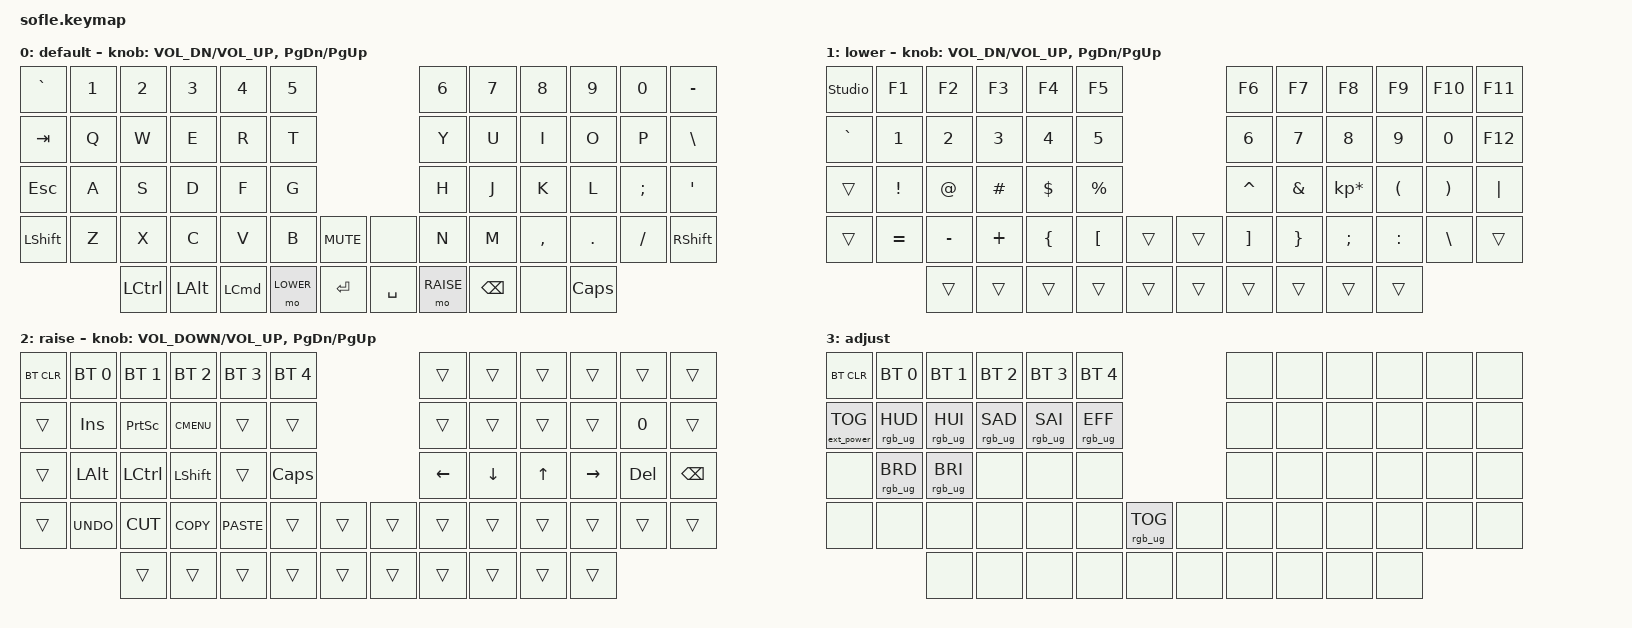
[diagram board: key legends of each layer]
/*
 * Copyright (c) 2020 The ZMK Contributors
 *
 * SPDX-License-Identifier: MIT
 */

#include <behaviors.dtsi>
#include <dt-bindings/zmk/bt.h>
#include <dt-bindings/zmk/ext_power.h>
#include <dt-bindings/zmk/keys.h>
#include <dt-bindings/zmk/rgb.h>

#define BASE 0
#define LOWER 1
#define RAISE 2
#define ADJUST 3

/ {
    // Activate ADJUST layer by pressing raise and lower

    conditional_layers {
        compatible = "zmk,conditional-layers";

        adjust_layer {
            if-layers = <LOWER RAISE>;
            then-layer = <ADJUST>;
        };
    };

    combos { compatible = "zmk,combos"; };

    keymap {
        compatible = "zmk,keymap";

        default_layer {
            label = "default";

            // ------------------------------------------------------------------------------------------------------------
            // |   `   |  1  |  2  |  3   |  4   |  5   |                   |  6   |  7    |  8    |  9   |   0   |       |
            // |  ESC  |  Q  |  W  |  E   |  R   |  T   |                   |  Y   |  U    |  I    |  O   |   P   | BKSPC |
            // |  TAB  |  A  |  S  |  D   |  F   |  G   |                   |  H   |  J    |  K    |  L   |   ;   |   '   |
            // | SHIFT |  Z  |  X  |  C   |  V   |  B   |  MUTE  |  |       |  N   |  M    |  ,    |  .   |   /   | SHIFT |
            //               | GUI | ALT  | CTRL | LOWER|  ENTER |  | SPACE | RAISE| CTRL  | ALT   | GUI  |

            bindings = <
&kp GRAVE   &kp N1  &kp N2     &kp N3    &kp N4    &kp N5                              &kp N6     &kp N7         &kp N8     &kp N9        &kp N0    &kp MINUS
&kp TAB     &kp Q   &kp W      &kp E     &kp R     &kp T                               &kp Y      &kp U          &kp I      &kp O         &kp P     &kp BSLH
&kp ESCAPE  &kp A   &kp S      &kp D     &kp F     &kp G                               &kp H      &kp J          &kp K      &kp L         &kp SEMI  &kp SQT
&kp LSHFT   &kp Z   &kp X      &kp C     &kp V     &kp B      &kp C_MUTE    &none      &kp N      &kp M          &kp COMMA  &kp DOT       &kp FSLH  &kp RSHFT
                    &kp LCTRL  &kp LALT  &kp LCMD  &mo LOWER  &kp ENTER     &kp SPACE  &mo RAISE  &kp BACKSPACE  &none      &kp CAPSLOCK
            >;

            sensor-bindings =
                <&inc_dec_kp C_VOL_DN C_VOL_UP>,
                <&inc_dec_kp PAGE_DOWN PAGE_UP>;
        };

        lower_layer {
            label = "lower";

            // TODO: Some binds are waiting for shifted keycode support.
            // ------------------------------------------------------------------------------------------------------------
            // |       |  F1 |  F2 |  F3  |  F4  |  F5  |                   |  F6  |  F7   |  F8   |  F9  |  F10  |  F11  |
            // |   `   |  1  |  2  |  3   |  4   |  5   |                   |  6   |  7    |  8    |  9   |   0   |  F12  |
            // |       |  !  |  @  |  #   |  $   |  %   |                   |  ^   |  &    |  *    |  (   |   )   |   |   |
            // |       |  =  |  -  |  +   |  {   |  }   |        |  |       |  [   |  ]    |  ;    |  :   |   \   |       |
            //               |     |      |      |      |        |  |       |      |       |       |      |

            bindings = <
&studio_unlock  &kp F1     &kp F2     &kp F3    &kp F4    &kp F5                              &kp F6             &kp F7           &kp F8           &kp F9                &kp F10                &kp F11
&kp GRAVE       &kp N1     &kp N2     &kp N3    &kp N4    &kp N5                              &kp N6             &kp N7           &kp N8           &kp N9                &kp N0                 &kp F12
&trans          &kp EXCL   &kp AT     &kp HASH  &kp DLLR  &kp PRCNT                           &kp CARET          &kp AMPS         &kp KP_MULTIPLY  &kp LEFT_PARENTHESIS  &kp RIGHT_PARENTHESIS  &kp PIPE
&trans          &kp EQUAL  &kp MINUS  &kp PLUS  &kp LBRC  &kp LEFT_BRACKET  &trans    &trans  &kp RIGHT_BRACKET  &kp RIGHT_BRACE  &kp SEMICOLON    &kp COLON             &kp BSLH               &trans
                           &trans     &trans    &trans    &trans            &trans    &trans  &trans             &trans           &trans           &trans
            >;

            sensor-bindings =
                <&inc_dec_kp C_VOL_DN C_VOL_UP>,
                <&inc_dec_kp PAGE_DOWN PAGE_UP>;
        };

        raise_layer {
            label = "raise";

            // ------------------------------------------------------------------------------------------------------------
            // | BTCLR | BT1  | BT2  |  BT3  |  BT4  |  BT5 |                |      |      |       |      |       |       |
            // |       | INS  | PSCR | GUI   |       |      |                | PGUP |      |   ^   |      |       |       |
            // |       | ALT  | CTRL | SHIFT |       | CAPS |                | PGDN |   <- |   v   |  ->  |  DEL  | BKSPC |
            // |       | UNDO | CUT  | COPY  | PASTE |      |      |  |      |      |      |       |      |       |       |
            //                |      |       |       |      |      |  |      |      |      |       |      |

            bindings = <
&bt BT_CLR  &bt BT_SEL 0  &bt BT_SEL 1  &bt BT_SEL 2  &bt BT_SEL 3  &bt BT_SEL 4                    &trans    &trans    &trans        &trans     &trans   &trans
&trans      &kp INS       &kp PSCRN     &kp K_CMENU   &trans        &trans                          &trans    &trans    &trans        &trans     &kp N0   &trans
&trans      &kp LALT      &kp LCTRL     &kp LSHFT     &trans        &kp CLCK                        &kp LEFT  &kp DOWN  &kp UP_ARROW  &kp RIGHT  &kp DEL  &kp BSPC
&trans      &kp K_UNDO    &kp K_CUT     &kp K_COPY    &kp K_PASTE   &trans        &trans    &trans  &trans    &trans    &trans        &trans     &trans   &trans
                          &trans        &trans        &trans        &trans        &trans    &trans  &trans    &trans    &trans        &trans
            >;

            sensor-bindings =
                <&inc_dec_kp C_VOLUME_DOWN C_VOLUME_UP>,
                <&inc_dec_kp PAGE_DOWN PAGE_UP>;
        };

        adjust_layer {
            // ----------------------------------------------------------------------------------------------------------------------------
            // | BTCLR  |  BT1    |  BT2    |   BT3   |   BT4   |   BT5   |                  |      |      |       |      |       |       |
            // | EXTPWR | RGB_HUD | RGB_HUI | RGB_SAD | RGB_SAI | RGB_EFF |                  |      |      |       |      |       |       |
            // |        | RGB_BRD | RGB_BRI |         |         |         |                  |      |      |       |      |       |       |
            // |        |         |         |         |         |         | RGB_TOG | |      |      |      |       |      |       |       |
            //                    |         |         |         |         |         | |      |      |      |       |      |

            label = "adjust";
            bindings = <
&bt BT_CLR         &bt BT_SEL 0     &bt BT_SEL 1     &bt BT_SEL 2     &bt BT_SEL 3     &bt BT_SEL 4                               &none  &none  &none  &none  &none  &none
&ext_power EP_TOG  &rgb_ug RGB_HUD  &rgb_ug RGB_HUI  &rgb_ug RGB_SAD  &rgb_ug RGB_SAI  &rgb_ug RGB_EFF                            &none  &none  &none  &none  &none  &none
&none              &rgb_ug RGB_BRD  &rgb_ug RGB_BRI  &none            &none            &none                                      &none  &none  &none  &none  &none  &none
&none              &none            &none            &none            &none            &none            &rgb_ug RGB_TOG    &none  &none  &none  &none  &none  &none  &none
                                    &none            &none            &none            &none            &none              &none  &none  &none  &none  &none
            >;
        };
    };
};
